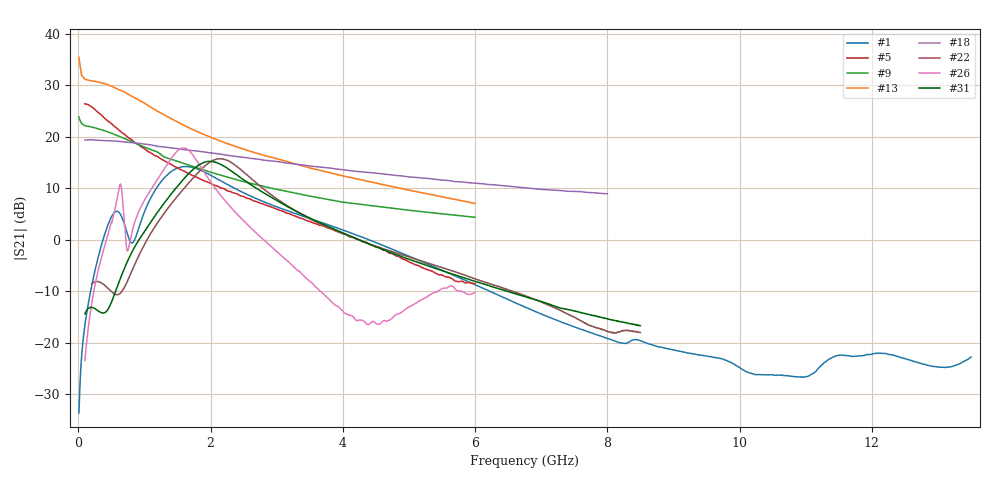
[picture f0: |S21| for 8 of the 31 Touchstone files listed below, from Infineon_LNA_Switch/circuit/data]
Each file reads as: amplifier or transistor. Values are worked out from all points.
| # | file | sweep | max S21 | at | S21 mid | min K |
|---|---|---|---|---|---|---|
| 1 | BGA231N7_1p8V.s2p | 10 MHz to 13.5 GHz | 14.2 dB | 1.629 GHz | -13.1 dB at 6.755 GHz | 1.12 |
| 2 | BGA231N7_2p6V.s2p | 10 MHz to 13.5 GHz | 14.3 dB | 1.629 GHz | -13.1 dB at 6.755 GHz | 1.15 |
| 3 | BGA416_3p0V.s2p | 100 MHz to 6 GHz | 22.4 dB | 150 MHz | 4.7 dB at 3.05 GHz | 1.87 |
| 4 | BGA416_4p0V.s2p | 100 MHz to 6 GHz | 24.8 dB | 100 MHz | 5.4 dB at 3.05 GHz | 0.77 |
| 5 | BGA416_5p0V.s2p | 100 MHz to 6 GHz | 26.4 dB | 100 MHz | 5.7 dB at 3.05 GHz | 0.85 |
| 6 | BGA420_2p0V.S2P | 10 MHz to 6 GHz | 17.7 dB | 10 MHz | 13.3 dB at 1.4 GHz | 1.34 |
| 7 | BGA420_3p0V.S2P | 10 MHz to 6 GHz | 21.2 dB | 10 MHz | 14.9 dB at 1.4 GHz | 1.37 |
| 8 | BGA420_4p0V.S2P | 10 MHz to 6 GHz | 22.9 dB | 10 MHz | 15.4 dB at 1.4 GHz | 1.40 |
| 9 | BGA420_5p0V.S2P | 10 MHz to 6 GHz | 23.9 dB | 10 MHz | 15.7 dB at 1.4 GHz | 1.40 |
| 10 | BGA427_2p0V.S2P | 10 MHz to 6 GHz | 27.6 dB | 10 MHz | 18.4 dB at 1.4 GHz | 0.71 |
| 11 | BGA427_3p0V.S2P | 10 MHz to 6 GHz | 31.9 dB | 10 MHz | 21.5 dB at 1.4 GHz | 0.43 |
| 12 | BGA427_4p0V.S2P | 10 MHz to 6 GHz | 34.1 dB | 10 MHz | 22.8 dB at 1.4 GHz | 0.29 |
| 13 | BGA427_5p0V.S2P | 10 MHz to 6 GHz | 35.5 dB | 10 MHz | 23.6 dB at 1.4 GHz | 0.25 |
| 14 | BGA428_2p75V.s2p | 100 MHz to 6 GHz | 35.4 dB | 100 MHz | 19.6 dB at 1.5 GHz | 1.10 |
| 15 | BGA524N6_1p8V.s2p | 19.05 MHz to 10 GHz | 16.9 dB | 1.575 GHz | -7.9 dB at 5.013 GHz | 3.17 |
| 16 | BGA524N6_2p8V.s2p | 19.05 MHz to 10 GHz | 16.9 dB | 1.588 GHz | -7.7 dB at 5.013 GHz | 3.14 |
| 17 | BGA612_5p0V.s2p | 100 MHz to 8 GHz | 17.8 dB | 200 MHz | 12.8 dB at 4.1 GHz | 1.04 |
| 18 | BGA614_5p0V.s2p | 100 MHz to 8 GHz | 19.4 dB | 200 MHz | 13.4 dB at 4.1 GHz | 1.03 |
| 19 | BGA615L7_2p8V.s2p | 100 MHz to 6 GHz | 17.1 dB | 1.575 GHz | -1.9 dB at 3.05 GHz | 0.92 |
| 20 | BGA616_6p0V.s2p | 100 MHz to 8 GHz | 19.4 dB | 100 MHz | 14.4 dB at 4.1 GHz | 1.03 |
| 21 | BGA622L7_2p75V_OnMode.s2p | 100 MHz to 10 GHz | 19.1 dB | 500 MHz | 10.3 dB at 5.05 GHz | 1.35 |
| 22 | BGA711N7_2p8V_HighGain.s2p | 202.2 MHz to 8.5 GHz | 15.7 dB | 2.146 GHz | -0.5 dB at 4.351 GHz | 3.64 |
| 23 | BGA713N7_2p8V_HighGain.s2p | 202.2 MHz to 8.5 GHz | 14.7 dB | 903.4 MHz | -14.8 dB at 4.351 GHz | 3.92 |
| 24 | BGA715N7_1p8V.s2p | 200 MHz to 4 GHz | 17.1 dB | 1.635 GHz | 12.0 dB at 2.1 GHz | 7.00 |
| 25 | BGA715N7_2p8V.s2p | 200 MHz to 4 GHz | 17.1 dB | 1.64 GHz | 12.2 dB at 2.1 GHz | 6.98 |
| 26 | BGA725L6_1p8V.s2p | 100 MHz to 6 GHz | 17.9 dB | 1.584 GHz | 14.8 dB at 1.818 GHz | 2.32 |
| 27 | BGA725L6_2p8V.s2p | 100 MHz to 6 GHz | 17.9 dB | 1.599 GHz | 15.1 dB at 1.818 GHz | 2.10 |
| 28 | BGA728L7_2p8V_HighGain.s2p | 30 kHz to 6 GHz | 16.1 dB | 675 MHz | 7.5 dB at 3 GHz | 1.61 |
| 29 | BGA735N16_HB_2p8V_HighGain.s2p | 101.2 MHz to 8.5 GHz | 15.9 dB | 2.2 GHz | 2.4 dB at 4.303 GHz | 2.72 |
| 30 | BGA735N16_LB_2p8V_HighGain.s2p | 101.2 MHz to 8.5 GHz | 14.5 dB | 945.9 MHz | -14.2 dB at 4.303 GHz | 3.88 |
| 31 | BGA735N16_MB_2p8V_HighGain.s2p | 101.2 MHz to 8.5 GHz | 15.2 dB | 1.987 GHz | -0.3 dB at 4.303 GHz | 3.36 |

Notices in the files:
Librerias/Infineon/BGB741L7ESDE6327XTSA1/Infineon_LNA_Switch/circuit/data/BGA420_2p0V.S2P:
(c) 1999  Infineon Technologies AG, Munich
Librerias/Infineon/BGB741L7ESDE6327XTSA1/Infineon_LNA_Switch/circuit/data/BGA524N6_1p8V.s2p:
(c) 2013 Infineon Technologies AG
Librerias/Infineon/BGB741L7ESDE6327XTSA1/Infineon_LNA_Switch/circuit/data/BGA725L6_1p8V.s2p:
(c) 2012 Infineon Technologies AG
